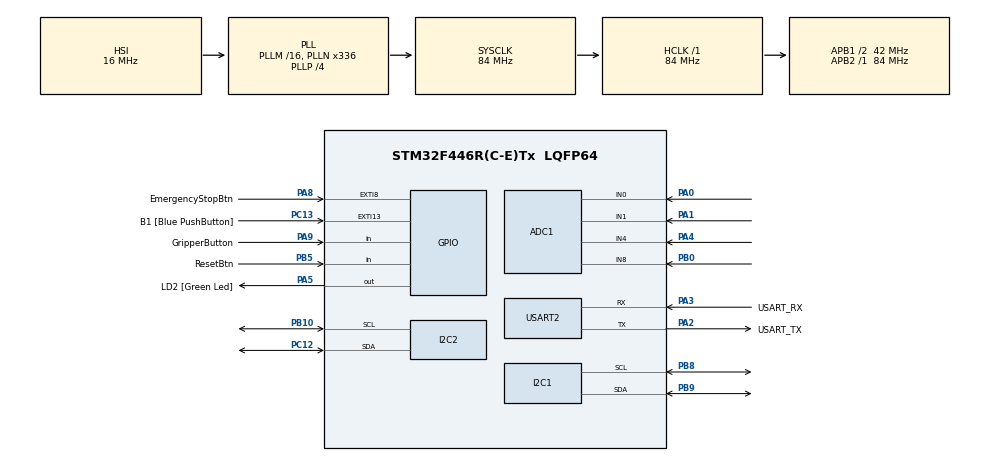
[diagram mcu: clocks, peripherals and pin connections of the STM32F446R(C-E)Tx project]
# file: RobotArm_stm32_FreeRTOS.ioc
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ADC1.Channel-0\#ChannelRegularConversion=ADC_CHANNEL_0
ADC1.Channel-1\#ChannelRegularConversion=ADC_CHANNEL_1
ADC1.Channel-2\#ChannelRegularConversion=ADC_CHANNEL_4
ADC1.Channel-3\#ChannelRegularConversion=ADC_CHANNEL_8
ADC1.ContinuousConvMode=DISABLE
ADC1.DMAContinuousRequests=DISABLE
ADC1.DiscontinuousConvMode=ENABLE
ADC1.EOCSelection=ADC_EOC_SINGLE_CONV
ADC1.NbrOfConversion=4
ADC1.NbrOfConversionFlag=1
ADC1.Rank-0\#ChannelRegularConversion=1
ADC1.Rank-1\#ChannelRegularConversion=2
ADC1.Rank-2\#ChannelRegularConversion=3
ADC1.Rank-3\#ChannelRegularConversion=4
ADC1.SamplingTime-0\#ChannelRegularConversion=ADC_SAMPLETIME_3CYCLES
ADC1.SamplingTime-1\#ChannelRegularConversion=ADC_SAMPLETIME_3CYCLES
ADC1.SamplingTime-2\#ChannelRegularConversion=ADC_SAMPLETIME_3CYCLES
ADC1.SamplingTime-3\#ChannelRegularConversion=ADC_SAMPLETIME_3CYCLES
ADC1.ScanConvMode=ENABLE
ADC1.master=1
FREERTOS.Mutexes01=StateMutex,Dynamic,NULL
FREERTOS.Queues01=MiniBotInputQueue,16,MiniBot_Qdata,0,Dynamic,NULL,NULL;MotorControlQueue,16,MiniBot_Qdata,0,Dynamic,NULL,NULL;LCDPrintQueue,16,enum State,0,Dynamic,NULL,NULL
FREERTOS.Tasks01=defaultTask,0,128,StartDefaultTask,Default,NULL,Dynamic,NULL,NULL;BlinkLEDTask,0,128,BlinkLEDTaskEntry,Default,NULL,Dynamic,NULL,NULL;MiniBotInputs,0,512,MiniBotInputsEntry,Default,NULL,Dynamic,NULL,NULL;ApplicationFSM,2,512,ApplicationFSMEntry,Default,NULL,Dynamic,NULL,NULL;MotorControlTask,0,512,MotorControlTaskEntry,Default,NULL,Dynamic,NULL,NULL;LCDPrintTask,0,128,LCDPrintTaskEntry,Default,NULL,Dynamic,NULL,NULL
FREERTOS.configGENERATE_RUN_TIME_STATS=1
FREERTOS.configMAX_TASK_NAME_LEN=32
FREERTOS.configRECORD_STACK_HIGH_ADDRESS=1
FREERTOS.configUSE_TRACE_FACILITY=1
Mcu.Family=STM32F4
Mcu.Name=STM32F446R(C-E)Tx
Mcu.Package=LQFP64
NVIC.EXTI9_5_IRQn=true\:5\:0\:false\:false\:true\:true\:true\:true\:true
NVIC.PriorityGroup=NVIC_PRIORITYGROUP_4
NVIC.TIM6_DAC_IRQn=true\:15\:0\:false\:false\:true\:false\:false\:true\:true
NVIC.TimeBase=TIM6_DAC_IRQn
NVIC.TimeBaseIP=TIM6
PA0-WKUP.Signal=ADCx_IN0
PA1.Signal=ADCx_IN1
PA13.GPIO_Label=TMS
PA13.Mode=Serial_Wire
PA13.Signal=SYS_JTMS-SWDIO
PA14.GPIO_Label=TCK
PA14.Mode=Serial_Wire
PA14.Signal=SYS_JTCK-SWCLK
PA2.GPIO_Label=USART_TX
PA2.Mode=Asynchronous
PA2.Signal=USART2_TX
PA3.GPIO_Label=USART_RX
PA3.Mode=Asynchronous
PA3.Signal=USART2_RX
PA4.Signal=ADCx_IN4
PA5.GPIO_Label=LD2 [Green Led]
PA5.Signal=GPIO_Output
PA8.GPIO_Label=EmergencyStopBtn
PA8.GPIO_ModeDefaultEXTI=GPIO_MODE_IT_FALLING
PA8.GPIO_PuPd=GPIO_PULLUP
PA8.Signal=GPXTI8
PA9.GPIO_Label=GripperButton
PA9.GPIO_PuPd=GPIO_PULLUP
PA9.Signal=GPIO_Input
PB0.Signal=ADCx_IN8
PB10.Mode=I2C
PB10.Signal=I2C2_SCL
PB3.GPIO_Label=SWO
PB3.Signal=SYS_JTDO-SWO
PB5.GPIO_Label=ResetBtn
PB5.GPIO_PuPd=GPIO_PULLUP
PB5.Signal=GPIO_Input
PB8.Mode=I2C
PB8.Signal=I2C1_SCL
PB9.Mode=I2C
PB9.Signal=I2C1_SDA
PC12.Mode=I2C
PC12.Signal=I2C2_SDA
PC13.GPIO_Label=B1 [Blue PushButton]
PC13.GPIO_ModeDefaultEXTI=GPIO_MODE_IT_FALLING
PC13.Signal=GPXTI13
PC14-OSC32_IN.Mode=LSE-External-Oscillator
PC14-OSC32_IN.Signal=RCC_OSC32_IN
PC15-OSC32_OUT.Mode=LSE-External-Oscillator
PC15-OSC32_OUT.Signal=RCC_OSC32_OUT
PH0-OSC_IN.Mode=HSE-External-Oscillator
PH0-OSC_IN.Signal=RCC_OSC_IN
PH1-OSC_OUT.Mode=HSE-External-Oscillator
PH1-OSC_OUT.Signal=RCC_OSC_OUT
ProjectManager.HeapSize=0x200
ProjectManager.StackSize=0x400
ProjectManager.TargetToolchain=Makefile
RCC.48MHZClocksFreq_Value=84000000
RCC.AHBFreq_Value=84000000
RCC.APB1CLKDivider=RCC_HCLK_DIV2
RCC.APB1Freq_Value=42000000
RCC.APB1TimFreq_Value=84000000
RCC.APB2Freq_Value=84000000
RCC.APB2TimFreq_Value=84000000
RCC.CortexFreq_Value=84000000
RCC.FLatency-AdvancedSettings=FLASH_LATENCY_2
RCC.HCLKFreq_Value=84000000
RCC.HSE_VALUE=8000000
RCC.HSI_VALUE=16000000
RCC.PLLN=336
RCC.PLLP=RCC_PLLP_DIV4
RCC.SYSCLKFreq_VALUE=84000000
RCC.SYSCLKSource=RCC_SYSCLKSOURCE_PLLCLK
RCC.USBFreq_Value=168000000
RCC.VCOOutputFreq_Value=336000000
SH.ADCx_IN0.0=ADC1_IN0,IN0
SH.ADCx_IN1.0=ADC1_IN1,IN1
SH.ADCx_IN4.0=ADC1_IN4,IN4
SH.ADCx_IN8.0=ADC1_IN8,IN8
USART2.VirtualMode=VM_ASYNC
VP_FREERTOS_VS_CMSIS_V1.Mode=CMSIS_V1
VP_SYS_VS_tim6.Mode=TIM6
board=NUCLEO-F446RE

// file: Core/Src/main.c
/* USER CODE BEGIN Header */
/**
  ******************************************************************************
  * @file           : main.c
  * @brief          : Main program body
  ******************************************************************************
  * @attention
  *
  * Copyright (c) 2024 STMicroelectronics.
  * All rights reserved.
  *
  * This software is licensed under terms that can be found in the LICENSE file
  * in the root directory of this software component.
  * If no LICENSE file comes with this software, it is provided AS-IS.
  *
  ******************************************************************************
  */
/* USER CODE END Header */
#include "main.h"
#include "cmsis_os.h"

/* USER CODE BEGIN Includes */

#include "pca9685.h"
#include <stdint.h>
#include "I2C_LCD.h"
#include "I2C_LCD_cfg.h"
#include "Util.h"

/* USER CODE END Includes */

/* USER CODE BEGIN PTD */

/*
 * MiniBot Structures
 */
typedef struct{
	uint8_t  PotNum;
	uint32_t PotMin;
	uint32_t PotMax;
	uint8_t  PotInvertRange;
} MiniBot_Joint_Config_t;

typedef struct{
	GPIO_TypeDef* 	GPIOx;
	uint16_t 		GPIO_Pin;
} MiniBot_Gripper_Config_t;

typedef struct{
	MiniBot_Joint_Config_t  	Base;
	MiniBot_Joint_Config_t  	Shoulder;
	MiniBot_Joint_Config_t  	Elbow;
	MiniBot_Joint_Config_t  	Wrist;
	MiniBot_Gripper_Config_t 	Gripper;
} MiniBot_Config_t;

typedef struct{
	uint32_t BasePotValue;
	uint32_t BasePotMin;
	uint32_t BasePotMax;
	uint32_t ShoulderPotValue;
	uint32_t ShoulderPotMin;
	uint32_t ShoulderPotMax;
	uint32_t ElbowPotValue;
	uint32_t ElbowPotMin;
	uint32_t ElbowPotMax;
	uint32_t WristPotValue;
	uint32_t WristPotMin;
	uint32_t WristPotMax;
	uint8_t  GripperValue;
} MiniBot_Qdata;

volatile MiniBot_Qdata Qdata;
uint32_t PotRawValue[4];
volatile MiniBot_Qdata MiniBot_Qdata_Buf;

/*
 * MegaBot Structures
 */
typedef struct{
	uint8_t  ServoNum;
	uint16_t ServoMin;
	uint16_t ServoMax;
	uint16_t ServoHomeAngle;
} MegaBot_Joint_Config_t;

typedef struct{
	uint8_t  ServoNum;
	uint16_t ServoMin;
	uint16_t ServoMax;
	uint16_t ServoHomeAngle;
} MegaBot_Gripper_Config_t;

typedef struct{
	MegaBot_Joint_Config_t  	Base;
	MegaBot_Joint_Config_t  	Shoulder;
	MegaBot_Joint_Config_t  	Elbow;
	MegaBot_Joint_Config_t  	Wrist;
	MegaBot_Gripper_Config_t 	Gripper;
} MegaBot_Config_t;

volatile MiniBot_Qdata Temp_Qdata_Buf;
volatile MiniBot_Qdata MotorControl_Qdata_Buf;

uint8_t tempFailedToPostMessage = 0;
uint16_t MappedServoAngle[4];

enum State{
  Init,
  Ready,
  Running,
  EmergencyStop
};

volatile enum State state = Init;

/* USER CODE END PTD */

ADC_HandleTypeDef hadc1;

I2C_HandleTypeDef hi2c1;
I2C_HandleTypeDef hi2c2;

UART_HandleTypeDef huart2;

osThreadId defaultTaskHandle;
osThreadId BlinkLEDTaskHandle;
osThreadId MiniBotInputsHandle;
osThreadId ApplicationFSMHandle;
osThreadId MotorControlTaskHandle;
osThreadId LCDPrintTaskHandle;
osMessageQId MiniBotInputQueueHandle;
osMessageQId MotorControlQueueHandle;
osMessageQId LCDPrintQueueHandle;
osMutexId StateMutexHandle;

void SystemClock_Config(void);
static void MX_GPIO_Init(void);
static void MX_ADC1_Init(void);
static void MX_I2C1_Init(void);
static void MX_USART2_UART_Init(void);
static void MX_I2C2_Init(void);
void StartDefaultTask(void const * argument);
void BlinkLEDTaskEntry(void const * argument);
void MiniBotInputsEntry(void const * argument);
void ApplicationFSMEntry(void const * argument);
void MotorControlTaskEntry(void const * argument);
void LCDPrintTaskEntry(void const * argument);

/* USER CODE BEGIN PFP */

void MiniBotInit(MiniBot_Config_t* MiniBot);
void MegaBotInit(MegaBot_Config_t* MegaBot);
void ServoDriverInit(MegaBot_Config_t* MegaBot);

void QPotDataUpdate(uint32_t PotRawValue, volatile MiniBot_Joint_Config_t *Joint, volatile uint32_t *QPotData);

void MoveServo(MegaBot_Config_t* MegaBot, volatile MiniBot_Qdata* MiniBot);
uint32_t MAP(uint32_t au32_IN, uint32_t au32_INmin, uint32_t au32_INmax, uint32_t au32_OUTmin, uint32_t au32_OUTmax);

/* USER CODE END PFP */

/* USER CODE BEGIN 0 */

void HAL_GPIO_EXTI_Callback(uint16_t GPIO_Pin)
{
  state = EmergencyStop;
}

/* USER CODE END 0 */

int main(void)
{

  /* MCU Configuration--------------------------------------------------------*/

  /* Reset of all peripherals, Initializes the Flash interface and the Systick. */
  HAL_Init();

  /* Configure the system clock */
  SystemClock_Config();

  /* Initialize all configured peripherals */
  MX_GPIO_Init();
  MX_ADC1_Init();
  MX_I2C1_Init();
  MX_USART2_UART_Init();
  MX_I2C2_Init();

  /* Create the mutex(es) */
  /* definition and creation of StateMutex */
  osMutexDef(StateMutex);
  StateMutexHandle = osMutexCreate(osMutex(StateMutex));

  /* Create the queue(s) */
  /* definition and creation of MiniBotInputQueue */
  osMessageQDef(MiniBotInputQueue, 16, MiniBot_Qdata);
  MiniBotInputQueueHandle = osMessageCreate(osMessageQ(MiniBotInputQueue), NULL);

  /* definition and creation of MotorControlQueue */
  osMessageQDef(MotorControlQueue, 16, MiniBot_Qdata);
  MotorControlQueueHandle = osMessageCreate(osMessageQ(MotorControlQueue), NULL);

  /* definition and creation of LCDPrintQueue */
  osMessageQDef(LCDPrintQueue, 16, enum State);
  LCDPrintQueueHandle = osMessageCreate(osMessageQ(LCDPrintQueue), NULL);

  /* Create the thread(s) */
  /* definition and creation of defaultTask */
  osThreadDef(defaultTask, StartDefaultTask, osPriorityNormal, 0, 128);
  defaultTaskHandle = osThreadCreate(osThread(defaultTask), NULL);

  /* definition and creation of BlinkLEDTask */
  osThreadDef(BlinkLEDTask, BlinkLEDTaskEntry, osPriorityNormal, 0, 128);
  BlinkLEDTaskHandle = osThreadCreate(osThread(BlinkLEDTask), NULL);

  /* definition and creation of MiniBotInputs */
  osThreadDef(MiniBotInputs, MiniBotInputsEntry, osPriorityNormal, 0, 512);
  MiniBotInputsHandle = osThreadCreate(osThread(MiniBotInputs), NULL);

  /* definition and creation of ApplicationFSM */
  osThreadDef(ApplicationFSM, ApplicationFSMEntry, osPriorityHigh, 0, 512);
  ApplicationFSMHandle = osThreadCreate(osThread(ApplicationFSM), NULL);

  /* definition and creation of MotorControlTask */
  osThreadDef(MotorControlTask, MotorControlTaskEntry, osPriorityNormal, 0, 512);
  MotorControlTaskHandle = osThreadCreate(osThread(MotorControlTask), NULL);

  /* definition and creation of LCDPrintTask */
  osThreadDef(LCDPrintTask, LCDPrintTaskEntry, osPriorityNormal, 0, 128);
  LCDPrintTaskHandle = osThreadCreate(osThread(LCDPrintTask), NULL);

  /* Start scheduler */
  osKernelStart();

  /* We should never get here as control is now taken by the scheduler */

  /* Infinite loop */
  while (1)
  {

  }
}

void SystemClock_Config(void)
{
  RCC_OscInitTypeDef RCC_OscInitStruct = {0};
  RCC_ClkInitTypeDef RCC_ClkInitStruct = {0};

  /** Configure the main internal regulator output voltage
  */
  __HAL_RCC_PWR_CLK_ENABLE();
  __HAL_PWR_VOLTAGESCALING_CONFIG(PWR_REGULATOR_VOLTAGE_SCALE3);

  /** Initializes the RCC Oscillators according to the specified parameters
  * in the RCC_OscInitTypeDef structure.
  */
  RCC_OscInitStruct.OscillatorType = RCC_OSCILLATORTYPE_HSI;
  RCC_OscInitStruct.HSIState = RCC_HSI_ON;
  RCC_OscInitStruct.HSICalibrationValue = RCC_HSICALIBRATION_DEFAULT;
  RCC_OscInitStruct.PLL.PLLState = RCC_PLL_ON;
  RCC_OscInitStruct.PLL.PLLSource = RCC_PLLSOURCE_HSI;
  RCC_OscInitStruct.PLL.PLLM = 16;
  RCC_OscInitStruct.PLL.PLLN = 336;
  RCC_OscInitStruct.PLL.PLLP = RCC_PLLP_DIV4;
  RCC_OscInitStruct.PLL.PLLQ = 2;
  RCC_OscInitStruct.PLL.PLLR = 2;
  if (HAL_RCC_OscConfig(&RCC_OscInitStruct) != HAL_OK)
  {
    Error_Handler();
  }

  /** Initializes the CPU, AHB and APB buses clocks
  */
  RCC_ClkInitStruct.ClockType = RCC_CLOCKTYPE_HCLK|RCC_CLOCKTYPE_SYSCLK
                              |RCC_CLOCKTYPE_PCLK1|RCC_CLOCKTYPE_PCLK2;
  RCC_ClkInitStruct.SYSCLKSource = RCC_SYSCLKSOURCE_PLLCLK;
  RCC_ClkInitStruct.AHBCLKDivider = RCC_SYSCLK_DIV1;
  RCC_ClkInitStruct.APB1CLKDivider = RCC_HCLK_DIV2;
  RCC_ClkInitStruct.APB2CLKDivider = RCC_HCLK_DIV1;

  if (HAL_RCC_ClockConfig(&RCC_ClkInitStruct, FLASH_LATENCY_2) != HAL_OK)
  {
    Error_Handler();
  }
}

static void MX_ADC1_Init(void)
{

  ADC_ChannelConfTypeDef sConfig = {0};

  /** Configure the global features of the ADC (Clock, Resolution, Data Alignment and number of conversion)
  */
  hadc1.Instance = ADC1;
  hadc1.Init.ClockPrescaler = ADC_CLOCK_SYNC_PCLK_DIV4;
  hadc1.Init.Resolution = ADC_RESOLUTION_12B;
  hadc1.Init.ScanConvMode = ENABLE;
  hadc1.Init.ContinuousConvMode = DISABLE;
  hadc1.Init.DiscontinuousConvMode = ENABLE;
  hadc1.Init.NbrOfDiscConversion = 1;
  hadc1.Init.ExternalTrigConvEdge = ADC_EXTERNALTRIGCONVEDGE_NONE;
  hadc1.Init.ExternalTrigConv = ADC_SOFTWARE_START;
  hadc1.Init.DataAlign = ADC_DATAALIGN_RIGHT;
  hadc1.Init.NbrOfConversion = 4;
  hadc1.Init.DMAContinuousRequests = DISABLE;
  hadc1.Init.EOCSelection = ADC_EOC_SINGLE_CONV;
  if (HAL_ADC_Init(&hadc1) != HAL_OK)
  {
    Error_Handler();
  }

  /** Configure for the selected ADC regular channel its corresponding rank in the sequencer and its sample time.
  */
  sConfig.Channel = ADC_CHANNEL_0;
  sConfig.Rank = 1;
  sConfig.SamplingTime = ADC_SAMPLETIME_3CYCLES;
  if (HAL_ADC_ConfigChannel(&hadc1, &sConfig) != HAL_OK)
  {
    Error_Handler();
  }

  /** Configure for the selected ADC regular channel its corresponding rank in the sequencer and its sample time.
  */
  sConfig.Channel = ADC_CHANNEL_1;
  sConfig.Rank = 2;
  if (HAL_ADC_ConfigChannel(&hadc1, &sConfig) != HAL_OK)
  {
    Error_Handler();
  }

  /** Configure for the selected ADC regular channel its corresponding rank in the sequencer and its sample time.
  */
  sConfig.Channel = ADC_CHANNEL_4;
  sConfig.Rank = 3;
  if (HAL_ADC_ConfigChannel(&hadc1, &sConfig) != HAL_OK)
  {
    Error_Handler();
  }

  /** Configure for the selected ADC regular channel its corresponding rank in the sequencer and its sample time.
  */
  sConfig.Channel = ADC_CHANNEL_8;
  sConfig.Rank = 4;
  if (HAL_ADC_ConfigChannel(&hadc1, &sConfig) != HAL_OK)
  {
    Error_Handler();
  }

}

static void MX_I2C1_Init(void)
{

  hi2c1.Instance = I2C1;
  hi2c1.Init.ClockSpeed = 100000;
  hi2c1.Init.DutyCycle = I2C_DUTYCYCLE_2;
  hi2c1.Init.OwnAddress1 = 0;
  hi2c1.Init.AddressingMode = I2C_ADDRESSINGMODE_7BIT;
  hi2c1.Init.DualAddressMode = I2C_DUALADDRESS_DISABLE;
  hi2c1.Init.OwnAddress2 = 0;
  hi2c1.Init.GeneralCallMode = I2C_GENERALCALL_DISABLE;
  hi2c1.Init.NoStretchMode = I2C_NOSTRETCH_DISABLE;
  if (HAL_I2C_Init(&hi2c1) != HAL_OK)
  {
    Error_Handler();
  }

}

static void MX_I2C2_Init(void)
{

  hi2c2.Instance = I2C2;
  hi2c2.Init.ClockSpeed = 100000;
  hi2c2.Init.DutyCycle = I2C_DUTYCYCLE_2;
  hi2c2.Init.OwnAddress1 = 0;
  hi2c2.Init.AddressingMode = I2C_ADDRESSINGMODE_7BIT;
  hi2c2.Init.DualAddressMode = I2C_DUALADDRESS_DISABLE;
  hi2c2.Init.OwnAddress2 = 0;
  hi2c2.Init.GeneralCallMode = I2C_GENERALCALL_DISABLE;
  hi2c2.Init.NoStretchMode = I2C_NOSTRETCH_DISABLE;
  if (HAL_I2C_Init(&hi2c2) != HAL_OK)
  {
    Error_Handler();
  }

}

static void MX_USART2_UART_Init(void)
{

  huart2.Instance = USART2;
  huart2.Init.BaudRate = 115200;
  huart2.Init.WordLength = UART_WORDLENGTH_8B;
  huart2.Init.StopBits = UART_STOPBITS_1;
  huart2.Init.Parity = UART_PARITY_NONE;
  huart2.Init.Mode = UART_MODE_TX_RX;
  huart2.Init.HwFlowCtl = UART_HWCONTROL_NONE;
  huart2.Init.OverSampling = UART_OVERSAMPLING_16;
  if (HAL_UART_Init(&huart2) != HAL_OK)
  {
    Error_Handler();
  }

}

static void MX_GPIO_Init(void)
{
  GPIO_InitTypeDef GPIO_InitStruct = {0};

  /* GPIO Ports Clock Enable */
  __HAL_RCC_GPIOC_CLK_ENABLE();
  __HAL_RCC_GPIOH_CLK_ENABLE();
  __HAL_RCC_GPIOA_CLK_ENABLE();
  __HAL_RCC_GPIOB_CLK_ENABLE();

  /*Configure GPIO pin Output Level */
  HAL_GPIO_WritePin(LD2_GPIO_Port, LD2_Pin, GPIO_PIN_RESET);

  /*Configure GPIO pin : B1_Pin */
  GPIO_InitStruct.Pin = B1_Pin;
  GPIO_InitStruct.Mode = GPIO_MODE_IT_FALLING;
  GPIO_InitStruct.Pull = GPIO_NOPULL;
  HAL_GPIO_Init(B1_GPIO_Port, &GPIO_InitStruct);

  /*Configure GPIO pin : LD2_Pin */
  GPIO_InitStruct.Pin = LD2_Pin;
  GPIO_InitStruct.Mode = GPIO_MODE_OUTPUT_PP;
  GPIO_InitStruct.Pull = GPIO_NOPULL;
  GPIO_InitStruct.Speed = GPIO_SPEED_FREQ_LOW;
  HAL_GPIO_Init(LD2_GPIO_Port, &GPIO_InitStruct);

  /*Configure GPIO pin : EmergencyStopBtn_Pin */
  GPIO_InitStruct.Pin = EmergencyStopBtn_Pin;
  GPIO_InitStruct.Mode = GPIO_MODE_IT_FALLING;
  GPIO_InitStruct.Pull = GPIO_PULLUP;
  HAL_GPIO_Init(EmergencyStopBtn_GPIO_Port, &GPIO_InitStruct);

  /*Configure GPIO pin : GripperButton_Pin */
  GPIO_InitStruct.Pin = GripperButton_Pin;
  GPIO_InitStruct.Mode = GPIO_MODE_INPUT;
  GPIO_InitStruct.Pull = GPIO_PULLUP;
  HAL_GPIO_Init(GripperButton_GPIO_Port, &GPIO_InitStruct);

  /*Configure GPIO pin : ResetBtn_Pin */
  GPIO_InitStruct.Pin = ResetBtn_Pin;
  GPIO_InitStruct.Mode = GPIO_MODE_INPUT;
  GPIO_InitStruct.Pull = GPIO_PULLUP;
  HAL_GPIO_Init(ResetBtn_GPIO_Port, &GPIO_InitStruct);

  /* EXTI interrupt init*/
  HAL_NVIC_SetPriority(EXTI9_5_IRQn, 5, 0);
  HAL_NVIC_EnableIRQ(EXTI9_5_IRQn);

}

/* USER CODE BEGIN 4 */

void MiniBotInit(MiniBot_Config_t* MiniBot){
	// Configure Each of the joints

	  MiniBot->Base.PotNum = 0;
	  MiniBot->Base.PotMin = 800;
	  MiniBot->Base.PotMax = 3400;
	  MiniBot->Base.PotInvertRange = 0;

	  MiniBot->Shoulder.PotNum = 1;
	  MiniBot->Shoulder.PotMin = 600;
	  MiniBot->Shoulder.PotMax = 3400;
	  MiniBot->Shoulder.PotInvertRange = 0;

	  MiniBot->Elbow.PotNum = 2;
	  MiniBot->Elbow.PotMin = 600;
	  MiniBot->Elbow.PotMax = 3400;
	  MiniBot->Elbow.PotInvertRange = 0;

	  MiniBot->Wrist.PotNum = 3;
	  MiniBot->Wrist.PotMin = 600;
	  MiniBot->Wrist.PotMax = 3200;
	  MiniBot->Wrist.PotInvertRange = 1;

	  MiniBot->Gripper.GPIOx = GPIOA;
	  MiniBot->Gripper.GPIO_Pin = GPIO_PIN_9;
}

void MegaBotInit(MegaBot_Config_t* MegaBot){
  // Configure Each of the joints
  MegaBot->Base.ServoNum = 0;
  MegaBot->Base.ServoMin = 0;
  MegaBot->Base.ServoMax = 180;
  MegaBot->Base.ServoHomeAngle = 90;

  MegaBot->Shoulder.ServoNum = 1;
  MegaBot->Shoulder.ServoMin = 0;
  MegaBot->Shoulder.ServoMax = 180;
  MegaBot->Shoulder.ServoHomeAngle = 0;

  MegaBot->Elbow.ServoNum = 2;
  MegaBot->Elbow.ServoMin = 50;
  MegaBot->Elbow.ServoMax = 180;
  MegaBot->Elbow.ServoHomeAngle = 180;

  MegaBot->Wrist.ServoNum = 3;
  MegaBot->Wrist.ServoMin = 0;
  MegaBot->Wrist.ServoMax = 180;
  MegaBot->Wrist.ServoHomeAngle = 90;

  MegaBot->Gripper.ServoNum = 4;
  MegaBot->Gripper.ServoMin = 0;
  MegaBot->Gripper.ServoMax = 70;
  MegaBot->Gripper.ServoHomeAngle = MegaBot->Gripper.ServoMin;

  ServoDriverInit(MegaBot);
}

void ServoDriverInit(MegaBot_Config_t* MegaBot){
  PCA9685_Init(&hi2c1);
  PCA9685_SetServoAngle(MegaBot->Base.ServoNum, MegaBot->Base.ServoHomeAngle);
  PCA9685_SetServoAngle(MegaBot->Shoulder.ServoNum, MegaBot->Shoulder.ServoHomeAngle);
  PCA9685_SetServoAngle(MegaBot->Elbow.ServoNum, MegaBot->Elbow.ServoHomeAngle);
  PCA9685_SetServoAngle(MegaBot->Wrist.ServoNum, MegaBot->Wrist.ServoHomeAngle);
  PCA9685_SetServoAngle(MegaBot->Gripper.ServoNum, MegaBot->Gripper.ServoHomeAngle);
}

void QPotDataUpdate(uint32_t PotRawValue, volatile MiniBot_Joint_Config_t *Joint, volatile uint32_t *QPotData){
  if(PotRawValue > *QPotData + 10 || PotRawValue < *QPotData - 10){
    if(PotRawValue > Joint->PotMax){
      *QPotData = Joint->PotMax;
    }else if(PotRawValue < Joint->PotMin){
      *QPotData = Joint->PotMin;
    }else{
      *QPotData = PotRawValue;
    }
    if(Joint->PotInvertRange){
      *QPotData = Joint->PotMax - *QPotData + Joint->PotMin;
    }
  }
}

void MoveServo(MegaBot_Config_t* MegaBot, volatile MiniBot_Qdata* MiniBot){
  // MAP each of the angles
  // Send each of new Joints angle
  // uint16_t MappedServoAngle;
  // Base
  MappedServoAngle[0] = MAP(MiniBot->BasePotValue, MiniBot->BasePotMin, MiniBot->BasePotMax, MegaBot->Base.ServoMin, MegaBot->Base.ServoMax);
  PCA9685_SetServoAngle(MegaBot->Base.ServoNum, MappedServoAngle[0]);
  // Shoulder
  MappedServoAngle[1] = MAP(MiniBot->ShoulderPotValue, MiniBot->ShoulderPotMin, MiniBot->ShoulderPotMax, MegaBot->Shoulder.ServoMin, MegaBot->Shoulder.ServoMax);
  PCA9685_SetServoAngle(MegaBot->Shoulder.ServoNum, MappedServoAngle[1]);
  // Elbow
  MappedServoAngle[2] = MAP(MiniBot->ElbowPotValue, MiniBot->ElbowPotMin, MiniBot->ElbowPotMax, MegaBot->Elbow.ServoMin, MegaBot->Elbow.ServoMax);
  PCA9685_SetServoAngle(MegaBot->Elbow.ServoNum, MappedServoAngle[2]);
  // Wrist
  MappedServoAngle[3] = MAP(MiniBot->WristPotValue, MiniBot->WristPotMin, MiniBot->WristPotMax, MegaBot->Wrist.ServoMin, MegaBot->Wrist.ServoMax);
  PCA9685_SetServoAngle(MegaBot->Wrist.ServoNum, MappedServoAngle[3]);
  // Gripper
  if(MiniBot->GripperValue){
    PCA9685_SetServoAngle(MegaBot->Gripper.ServoNum, MegaBot->Gripper.ServoMin);
  }else{
    PCA9685_SetServoAngle(MegaBot->Gripper.ServoNum, MegaBot->Gripper.ServoMax);
  }
}

// Used to map the Potentiometer Range (0-4096) to the Servo Range (0-180)
uint32_t MAP(uint32_t au32_IN, uint32_t au32_INmin, uint32_t au32_INmax, uint32_t au32_OUTmin, uint32_t au32_OUTmax)
{
    return ((((au32_IN - au32_INmin)*(au32_OUTmax - au32_OUTmin))/(au32_INmax - au32_INmin)) + au32_OUTmin);
}

/* USER CODE END 4 */

void StartDefaultTask(void const * argument)
{
  /* USER CODE BEGIN 5 */
  /* Infinite loop */
  for(;;)
  {
    HAL_GPIO_WritePin(LD2_GPIO_Port,LD2_Pin, 0);
    osDelay(1000);
  }
  /* USER CODE END 5 */
}

void BlinkLEDTaskEntry(void const * argument)
{
  /* USER CODE BEGIN BlinkLEDTaskEntry */
  /* Infinite loop */
  for(;;)
  {

    osDelay(500);
    HAL_GPIO_WritePin(LD2_GPIO_Port,LD2_Pin, 1);
    osDelay(500);
  }
  /* USER CODE END BlinkLEDTaskEntry */
}

void MiniBotInputsEntry(void const * argument)
{
  /* USER CODE BEGIN MiniBotInputsEntry */

	MiniBot_Config_t MiniBot;
	MiniBotInit(&MiniBot);

  Qdata.BasePotMax = MiniBot.Base.PotMax;
  Qdata.BasePotMin = MiniBot.Base.PotMin;
  Qdata.ShoulderPotMax = MiniBot.Shoulder.PotMax;
  Qdata.ShoulderPotMin = MiniBot.Shoulder.PotMin;
  Qdata.ElbowPotMax = MiniBot.Elbow.PotMax;
  Qdata.ElbowPotMin = MiniBot.Elbow.PotMin;
  Qdata.WristPotMax = MiniBot.Wrist.PotMax;
  Qdata.WristPotMin = MiniBot.Wrist.PotMin;

	/* Infinite loop */
	for(;;)
	{
    for(uint8_t i=0; i<4; i++){
      HAL_ADC_Start(&hadc1);
      HAL_ADC_PollForConversion(&hadc1, 1);
      PotRawValue[i] = HAL_ADC_GetValue(&hadc1);
    }
    HAL_ADC_Stop(&hadc1);

    QPotDataUpdate(PotRawValue[0], &MiniBot.Base, &Qdata.BasePotValue);
    QPotDataUpdate(PotRawValue[1], &MiniBot.Shoulder, &Qdata.ShoulderPotValue);
    QPotDataUpdate(PotRawValue[2], &MiniBot.Elbow, &Qdata.ElbowPotValue);
    QPotDataUpdate(PotRawValue[3], &MiniBot.Wrist, &Qdata.WristPotValue);

    Qdata.GripperValue = (uint8_t)HAL_GPIO_ReadPin(GPIOA, GPIO_PIN_9);

    if(MiniBotInputQueueHandle != 0){
      if(xQueueSend(MiniBotInputQueueHandle, (void*)&Qdata, portMAX_DELAY) != pdPASS){
        // failed to post message
        tempFailedToPostMessage = 1;
      }
    }

    osDelay(1);
	}
  /* USER CODE END MiniBotInputsEntry */
}

void ApplicationFSMEntry(void const * argument)
{
  /* USER CODE BEGIN ApplicationFSMEntry */

  // enum State state = Init;
  // MiniBot_Qdata minibot_data;

  /* Infinite loop */
  for(;;)
  {
    if(xQueueSend(LCDPrintQueueHandle, (void*)&state, portMAX_DELAY) != pdPASS){
      // failed to post message
      tempFailedToPostMessage = 1;
    }
    if(state == Init){
      state = Ready;

    }else if(state == Ready){
      if(!HAL_GPIO_ReadPin(GripperButton_GPIO_Port, GripperButton_Pin)){
        osDelay(200);
        state = Running;
      }

    }else if(state == Running){
      // Send Minibot_data to the Motor Queue for the Motor Task to handle
      if(xQueueReceive(MiniBotInputQueueHandle, (void*)&MiniBot_Qdata_Buf, portMAX_DELAY) == pdPASS){
        Temp_Qdata_Buf = MiniBot_Qdata_Buf;
        xQueueSend(MotorControlQueueHandle, (void*)&Temp_Qdata_Buf, portMAX_DELAY);
      }

    }

    if(state == EmergencyStop){
      // If reset btn is pressed change state to Ready1
      if(!HAL_GPIO_ReadPin(ResetBtn_GPIO_Port, ResetBtn_Pin)){
        osDelay(200);
        state = Ready;
      }
    }

    osDelay(1);
  }
  /* USER CODE END ApplicationFSMEntry */
}

void MotorControlTaskEntry(void const * argument)
{
  /* USER CODE BEGIN MotorControlTaskEntry */

  MegaBot_Config_t MegaBot;
  MegaBotInit(&MegaBot);
  ServoDriverInit(&MegaBot);

  /* Infinite loop */
  for(;;)
  {

    if(xQueueReceive(MotorControlQueueHandle, (void*)&MotorControl_Qdata_Buf, portMAX_DELAY) == pdPASS){
      MoveServo(&MegaBot, &MotorControl_Qdata_Buf);
    }

    osDelay(1);
  }
  /* USER CODE END MotorControlTaskEntry */
}

void LCDPrintTaskEntry(void const * argument)
{
  /* USER CODE BEGIN LCDPrintTaskEntry */

  I2C_LCD_Init(I2C_LCD_1);
  I2C_LCD_SetCursor(I2C_LCD_1, 0, 0);
  I2C_LCD_WriteString(I2C_LCD_1, "Test");
  I2C_LCD_SetCursor(I2C_LCD_1, 0, 1);
  I2C_LCD_WriteString(I2C_LCD_1, "I2C LCD");

  enum State CurrentState;
  enum State LastState = Init;

  /* Infinite loop */
  for(;;)
  {

    if(xQueueReceive(LCDPrintQueueHandle, (void*)&CurrentState, portMAX_DELAY) == pdPASS){
      if(LastState != CurrentState){
        I2C_LCD_Clear(I2C_LCD_1);
        if(CurrentState == Init){
        I2C_LCD_SetCursor(I2C_LCD_1, 0, 0);
        I2C_LCD_WriteString(I2C_LCD_1, "Initializing");
        I2C_LCD_SetCursor(I2C_LCD_1, 0, 1);
        I2C_LCD_WriteString(I2C_LCD_1, "Please Wait");

        }else if(CurrentState == Ready){
        I2C_LCD_SetCursor(I2C_LCD_1, 0, 0);
        I2C_LCD_WriteString(I2C_LCD_1, "Ready");
        I2C_LCD_SetCursor(I2C_LCD_1, 0, 1);
        I2C_LCD_WriteString(I2C_LCD_1, "Press Gripper");

        }else if(CurrentState == Running){
        I2C_LCD_SetCursor(I2C_LCD_1, 0, 0);
        I2C_LCD_WriteString(I2C_LCD_1, "Running");
        I2C_LCD_SetCursor(I2C_LCD_1, 0, 1);
        I2C_LCD_WriteString(I2C_LCD_1, "I2C LCD");

        }else if(CurrentState == EmergencyStop){
        I2C_LCD_SetCursor(I2C_LCD_1, 0, 0);
        I2C_LCD_WriteString(I2C_LCD_1, "Emergency Stop!");
        I2C_LCD_SetCursor(I2C_LCD_1, 0, 1);
        I2C_LCD_WriteString(I2C_LCD_1, "Press Reset Button");

        }
        LastState = CurrentState;
      }
    }

    osDelay(1);
  }
  /* USER CODE END LCDPrintTaskEntry */
}

void HAL_TIM_PeriodElapsedCallback(TIM_HandleTypeDef *htim)
{
  if (htim->Instance == TIM6) {
    HAL_IncTick();
  }
}

void Error_Handler(void)
{
  __disable_irq();
  while (1)
  {
  }
}
